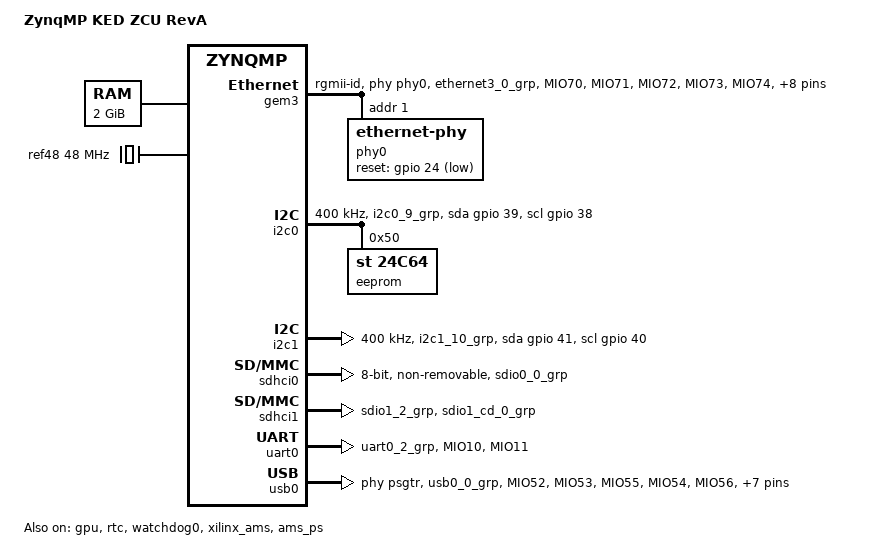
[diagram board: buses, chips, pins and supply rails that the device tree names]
// SPDX-License-Identifier: GPL-2.0+
/*
 * dts file for Xilinx ZynqMP ZCU102 RevA
 *
 * (C) Copyright 2015 - 2021, Xilinx, Inc.
 *
 * Michal Simek <michal.simek@xilinx.com>
 */

/dts-v1/;

#include "zynqmp.dtsi"
#include "zynqmp-clk-ccf.dtsi"
#include <dt-bindings/input/input.h>
#include <dt-bindings/gpio/gpio.h>
#include <dt-bindings/pinctrl/pinctrl-zynqmp.h>
#include <dt-bindings/phy/phy.h>

/ {
	model = "ZynqMP KED ZCU RevA";
	compatible = "xlnx,zynqmp-ked-zcu-revA", "xlnx,zynqmp-ked-zcu", "xlnx,zynqmp";

	aliases {
		ethernet0 = &gem3;
		serial0 = &uart0;
		i2c0 = &i2c0;
		i2c1 = &i2c1;
		mmc0 = &sdhci1;
		mmc1 = &sdhci0;
		nvmem0 = &eeprom;
		usb0 = &usb0;
	};

	chosen {
		bootargs = "earlycon";
		stdout-path = "serial0:115200n8";
	};

	memory@0 {
		device_type = "memory";
		reg = <0x0 0x0 0x0 0x80000000>;
	};

	/*
	gpio-keys {
		compatible = "gpio-keys";
		autorepeat;
		sw19 {
			label = "sw19";
			gpios = <&gpio 22 GPIO_ACTIVE_HIGH>;
			linux,code = <KEY_DOWN>;
			wakeup-source;
			autorepeat;
		};
	};

	leds {
		compatible = "gpio-leds";
		heartbeat-led {
			label = "heartbeat";
			gpios = <&gpio 23 GPIO_ACTIVE_HIGH>;
			linux,default-trigger = "heartbeat";
		};
	};
	*/
	
	/* 48MHz reference crystal */
	ref48: ref48M {
		compatible = "fixed-clock";
		#clock-cells = <0>;
		clock-frequency = <48000000>;
	};

};

&gpio {
	status = "okay";
	pinctrl-names = "default";
	pinctrl-0 = <&pinctrl_gpio_default>;
};

&gem3 {
	status = "okay";
	phy-handle = <&phy0>;
	phy-mode = "rgmii-id";
	pinctrl-names = "default";
	pinctrl-0 = <&pinctrl_gem3_default>;
	phy0: ethernet-phy@1 {
		reg = <1>;
		reset-gpios = <&gpio 24 GPIO_ACTIVE_LOW>;
	};
};

&gpu {
	status = "okay";
};

&i2c0 {
	status = "okay";
	clock-frequency = <400000>;
	pinctrl-names = "default", "gpio";
	pinctrl-0 = <&pinctrl_i2c0_default>;
	pinctrl-1 = <&pinctrl_i2c0_gpio>;
	scl-gpios = <&gpio 38 GPIO_ACTIVE_HIGH>;
	sda-gpios = <&gpio 39 GPIO_ACTIVE_HIGH>;
	
	eeprom: eeprom@50 { /* u46 - also at address 0x58 */
		u-boot,dm-pre-reloc;
		compatible = "st,24c64", "atmel,24c64"; /* st m24c64 */
		reg = <0x50>;
		/* WP pin EE_WP_EN connected to slg7x644092@68 */
	};
};

&i2c1 {
	status = "okay";
	clock-frequency = <400000>;
	pinctrl-names = "default", "gpio";
	pinctrl-0 = <&pinctrl_i2c1_default>;
	pinctrl-1 = <&pinctrl_i2c1_gpio>;
	scl-gpios = <&gpio 40 GPIO_ACTIVE_HIGH>;
	sda-gpios = <&gpio 41 GPIO_ACTIVE_HIGH>;
};

&rtc {
	status = "okay";
};

/* EMMC */
&sdhci0 { /* MIO13-23 - 16GB emmc MTFC16GAPALBH-IT */
	status = "okay";
	pinctrl-names = "default";
	pinctrl-0 = <&pinctrl_sdhci0_default>;
	non-removable;
	disable-wp;
	bus-width = <8>;
	xlnx,mio-bank = <0>;
	assigned-clock-rates = <187498123>;
};

/* SD1 with level shifter */
&sdhci1 {
	status = "okay";
	/*
	 * 1.0 revision has level shifter and this property should be
	 * removed for supporting UHS mode
	 */
	no-1-8-v;
	pinctrl-names = "default";
	pinctrl-0 = <&pinctrl_sdhci1_default>;
	xlnx,mio-bank = <1>;
};

&uart0 {
	status = "okay";
	pinctrl-names = "default";
	pinctrl-0 = <&pinctrl_uart0_default>;
};


/* ULPI SMSC USB3320 */
&usb0 {
	status = "okay";
	pinctrl-names = "default";
	pinctrl-0 = <&pinctrl_usb0_default>;
	phy-names = "usb3-phy";
	phys = <&psgtr 2 PHY_TYPE_USB3 0 0>;
};

&watchdog0 {
	status = "okay";
};

&xilinx_ams {
	status = "okay";
};

&pinctrl0 {
	status = "okay";
	
	pinctrl_can0_default: can0-default {
		mux {
			function = "can0";
			groups = "can0_10_grp";
		};

		conf {
			groups = "can0_10_grp";
			slew-rate = <SLEW_RATE_SLOW>;
			power-source = <IO_STANDARD_LVCMOS18>;
		};

		conf-rx {
			pins = "MIO42";
			bias-high-impedance;
		};

		conf-tx {
			pins = "MIO43";
			bias-disable;
		};
	};
	
	pinctrl_can1_default: can1-default {
		mux {
			function = "can1";
			groups = "can1_2_grp";
		};

		conf {
			groups = "can1_2_grp";
			slew-rate = <SLEW_RATE_SLOW>;
			power-source = <IO_STANDARD_LVCMOS18>;
		};

		conf-rx {
			pins = "MIO8";
			bias-high-impedance;
		};

		conf-tx {
			pins = "MIO9";
			bias-disable;
		};
	};
		
	pinctrl_i2c0_default: i2c0-default {
		mux {
			groups = "i2c0_9_grp";
			function = "i2c0";
		};

		conf {
			groups = "i2c0_9_grp";
			bias-pull-up;
			slew-rate = <SLEW_RATE_SLOW>;
			power-source = <IO_STANDARD_LVCMOS18>;
		};
	};

	pinctrl_i2c0_gpio: i2c0-gpio {
		mux {
			groups = "gpio0_38_grp", "gpio0_39_grp";
			function = "gpio0";
		};

		conf {
			groups = "gpio0_38_grp", "gpio0_39_grp";
			slew-rate = <SLEW_RATE_SLOW>;
			power-source = <IO_STANDARD_LVCMOS18>;
		};
	};

	pinctrl_i2c1_default: i2c1-default {
		mux {
			groups = "i2c1_10_grp";
			function = "i2c1";
		};

		conf {
			groups = "i2c1_10_grp";
			bias-pull-up;
			slew-rate = <SLEW_RATE_SLOW>;
			power-source = <IO_STANDARD_LVCMOS18>;
		};
	};

	pinctrl_i2c1_gpio: i2c1-gpio {
		mux {
			groups = "gpio0_40_grp", "gpio0_41_grp";
			function = "gpio0";
		};

		conf {
			groups = "gpio0_40_grp", "gpio0_41_grp";
			slew-rate = <SLEW_RATE_SLOW>;
			power-source = <IO_STANDARD_LVCMOS18>;
		};
	};

	pinctrl_uart0_default: uart0-default {
		mux {
			groups = "uart0_2_grp";
			function = "uart0";
		};

		conf {
			groups = "uart0_2_grp";
			slew-rate = <SLEW_RATE_SLOW>;
			power-source = <IO_STANDARD_LVCMOS18>;
		};

		conf-rx {
			pins = "MIO10";
			bias-high-impedance;
		};

		conf-tx {
			pins = "MIO11";
			bias-disable;
		};
	};

	pinctrl_usb0_default: usb0-default {
		mux {
			groups = "usb0_0_grp";
			function = "usb0";
		};

		conf {
			groups = "usb0_0_grp";
			power-source = <IO_STANDARD_LVCMOS18>;
		};

		conf-rx {
			pins = "MIO52", "MIO53", "MIO55";
			bias-high-impedance;
			drive-strength = <12>;
			slew-rate = <SLEW_RATE_FAST>;
		};

		conf-tx {
			pins = "MIO54", "MIO56", "MIO57", "MIO58", "MIO59",
			       "MIO60", "MIO61", "MIO62", "MIO63";
			bias-disable;
			drive-strength = <4>;
			slew-rate = <SLEW_RATE_SLOW>;
		};
	};

	pinctrl_gem3_default: gem3-default {
		mux {
			function = "ethernet3";
			groups = "ethernet3_0_grp";
		};

		conf {
			groups = "ethernet3_0_grp";
			slew-rate = <SLEW_RATE_SLOW>;
			power-source = <IO_STANDARD_LVCMOS18>;
		};

		conf-rx {
			pins = "MIO70", "MIO71", "MIO72", "MIO73", "MIO74",
									"MIO75";
			bias-high-impedance;
			low-power-disable;
		};

		conf-tx {
			pins = "MIO64", "MIO65", "MIO66", "MIO67", "MIO68",
									"MIO69";
			bias-disable;
			low-power-enable;
		};

		mux-mdio {
			function = "mdio3";
			groups = "mdio3_0_grp";
		};

		conf-mdio {
			groups = "mdio3_0_grp";
			slew-rate = <SLEW_RATE_SLOW>;
			power-source = <IO_STANDARD_LVCMOS18>;
			bias-disable;
		};
	};
	
	pinctrl_sdhci0_default: sdhci0-default {
		conf {
			groups = "sdio0_0_grp";
			slew-rate = <SLEW_RATE_SLOW>;
			power-source = <IO_STANDARD_LVCMOS18>;
			bias-disable;
		};

		mux {
			groups = "sdio0_0_grp";
			function = "sdio0";
		};
	};
	
	pinctrl_sdhci1_default: sdhci1-default {
		mux {
			groups = "sdio1_2_grp";
			function = "sdio1";
		};

		conf {
			groups = "sdio1_2_grp";
			slew-rate = <SLEW_RATE_SLOW>;
			power-source = <IO_STANDARD_LVCMOS18>;
			bias-disable;
		};

		mux-cd {
			groups = "sdio1_cd_0_grp";
			function = "sdio1_cd";
		};

		conf-cd {
			groups = "sdio1_cd_0_grp";
			bias-high-impedance;
			bias-pull-up;
			slew-rate = <SLEW_RATE_SLOW>;
			power-source = <IO_STANDARD_LVCMOS18>;
		};
	};

	pinctrl_gpio_default: gpio-default {
		mux-sw {
			function = "gpio0";
			groups = "gpio0_23_grp", "gpio0_24_grp", "gpio0_25_grp";
		};

		conf-sw {
			groups = "gpio0_23_grp", "gpio0_24_grp", "gpio0_25_grp";
			slew-rate = <SLEW_RATE_SLOW>;
			power-source = <IO_STANDARD_LVCMOS18>;
		};
		/*
		mux-msp {
			function = "gpio0";
			groups = "gpio0_13_grp", "gpio0_38_grp";
		};

		conf-msp {
			groups = "gpio0_13_grp", "gpio0_38_grp";
			slew-rate = <SLEW_RATE_SLOW>;
			power-source = <IO_STANDARD_LVCMOS18>;
		};
		*/
		conf-pull-up {
			pins = "MIO23", "MIO24", "MIO25";
			bias-pull-up;
		};
		/*
		conf-pull-none {
			pins = "MIO13", "MIO38";
			bias-disable;
		};
		*/
	};
};

&ams_ps {
	status = "okay";
};

